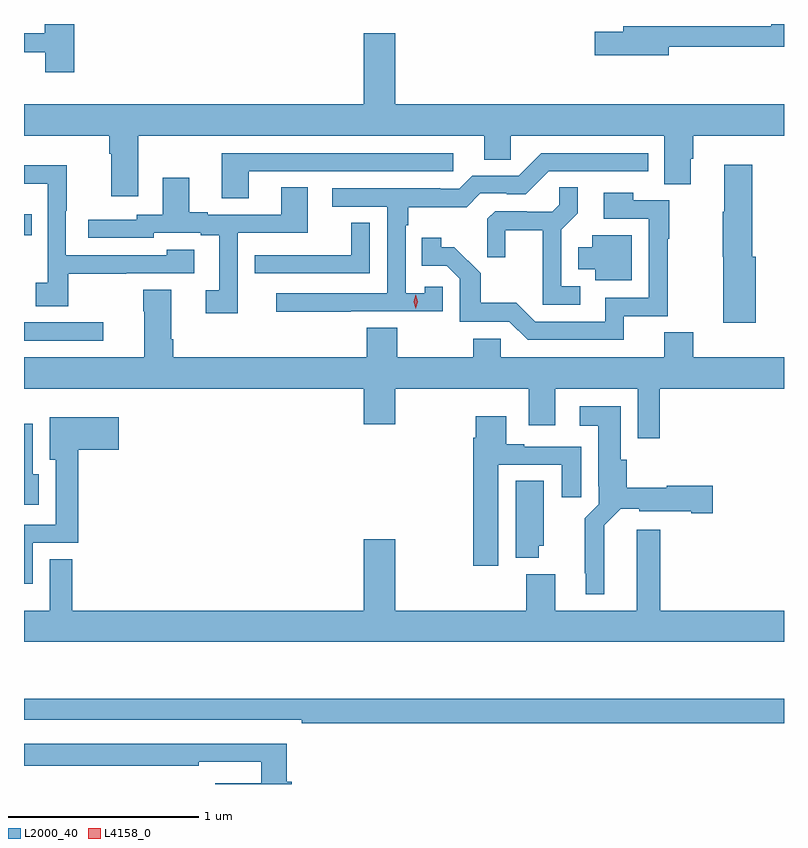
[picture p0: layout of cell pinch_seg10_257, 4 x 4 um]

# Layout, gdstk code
import gdstk
lib = gdstk.Library(unit=1e-6, precision=1e-09)
def R(c, l, rs):  # rectangles x0, y0, x1, y1
    for r in rs: c.add(gdstk.rectangle(r[:2], r[2:], *l))
def P(c, l, *ps):  # polygons
    for p in ps: c.add(gdstk.Polygon(p, *l))
L2000_40 = (2000, 40)
L4158_0 = (4158, 0)

pinch_seg10_257 = lib.new_cell('pinch_seg10_257')
R(pinch_seg10_257, L2000_40, [(522.859,1317.885,523.276,1317.981), (522.859,1318.44,522.899,1318.549)])
P(pinch_seg10_257, L2000_40, [(523.124,1319.551),(522.969,1319.551),(522.969,1319.503),(522.859,1319.503),(522.859,1319.403),(522.971,1319.403),(522.971,1319.298),(523.124,1319.298)],
  [(526.252,1319.43),(526.859,1319.43),(526.859,1319.551),(526.792,1319.551),(526.792,1319.538),(526.013,1319.538),(526.013,1319.509),(525.864,1319.509),(525.864,1319.387),(526.252,1319.387)],
  [(522.859,1318.964),(523.307,1318.964),(523.307,1318.868),(523.319,1318.868),(523.319,1318.644),(523.459,1318.644),(523.459,1318.964),(525.281,1318.964),(525.281,1318.837),(525.42,1318.837),(525.42,1318.964),(526.229,1318.964),(526.229,1318.708),(526.369,1318.708),(526.369,1318.842),(526.382,1318.842),(526.382,1318.964),(526.859,1318.964),(526.859,1319.128),(524.812,1319.128),(524.812,1319.503),(524.648,1319.503),(524.648,1319.128),(522.859,1319.128)],
  [(524.041,1318.776),(525.118,1318.776),(525.118,1318.872),(523.901,1318.872),(523.901,1318.633),(524.041,1318.633)],
  [(524.579,1318.038),(525.063,1318.038),(525.063,1318.167),(524.967,1318.167),(524.967,1318.135),(524.868,1318.135),(524.868,1318.493),(524.881,1318.493),(524.881,1318.586),(525.188,1318.586),(525.261,1318.659),(525.4,1318.659),(525.4,1318.656),(525.501,1318.656),(525.621,1318.776),(526.144,1318.776),(526.144,1318.872),(525.582,1318.872),(525.462,1318.752),(525.219,1318.752),(525.15,1318.683),(525.05,1318.683),(525.05,1318.686),(524.481,1318.686),(524.481,1318.59),(524.772,1318.59),(524.772,1318.134),(524.187,1318.134),(524.187,1318.036),(524.579,1318.036)],
  [(526.709,1318.326),(526.691,1318.326),(526.691,1318.81),(526.544,1318.81),(526.544,1318.562),(526.537,1318.562),(526.537,1318.326),(526.538,1318.326),(526.538,1317.978),(526.709,1317.978)],
  [(523.093,1318.237),(523.397,1318.237),(523.397,1318.239),(523.756,1318.239),(523.756,1318.363),(523.611,1318.363),(523.611,1318.335),(523.08,1318.335),(523.08,1318.568),(523.083,1318.568),(523.083,1318.807),(522.859,1318.807),(522.859,1318.709),(522.984,1318.709),(522.984,1318.188),(522.921,1318.188),(522.921,1318.066),(523.093,1318.066)],
  [(523.983,1318.452),(524.353,1318.452),(524.353,1318.691),(524.213,1318.691),(524.213,1318.548),(523.825,1318.548),(523.825,1318.561),(523.729,1318.561),(523.729,1318.741),(523.589,1318.741),(523.589,1318.548),(523.452,1318.548),(523.452,1318.521),(523.197,1318.521),(523.197,1318.425),(523.542,1318.425),(523.542,1318.452),(523.79,1318.452),(523.79,1318.44),(523.886,1318.44),(523.886,1318.149),(523.815,1318.149),(523.815,1318.029),(523.983,1318.029)],
  [(525.787,1318.17),(525.687,1318.17),(525.687,1318.469),(525.773,1318.555),(525.773,1318.691),(525.675,1318.691),(525.675,1318.6),(525.638,1318.563),(525.504,1318.563),(525.504,1318.566),(525.339,1318.566),(525.298,1318.525),(525.298,1318.323),(525.392,1318.323),(525.392,1318.466),(525.59,1318.466),(525.59,1318.074),(525.787,1318.074)],
  [(526.016,1318.014),(526.247,1318.014),(526.247,1318.42),(526.255,1318.42),(526.255,1318.623),(526.065,1318.623),(526.065,1318.663),(525.909,1318.663),(525.909,1318.527),(526.146,1318.527),(526.146,1318.11),(525.917,1318.11),(525.917,1317.984),(525.549,1317.984),(525.451,1318.083),(525.262,1318.083),(525.262,1318.238),(525.124,1318.376),(525.054,1318.376),(525.054,1318.426),(524.953,1318.426),(524.953,1318.278),(525.084,1318.278),(525.153,1318.209),(525.153,1317.984),(525.414,1317.984),(525.51,1317.888),(526.016,1317.888)],
  [(524.679,1318.505),(524.581,1318.505),(524.581,1318.335),(524.185,1318.335),(524.185,1318.334),(524.073,1318.334),(524.073,1318.239),(524.679,1318.239)],
  [(526.057,1318.438),(525.851,1318.438),(525.851,1318.375),(525.776,1318.375),(525.776,1318.259),(525.866,1318.259),(525.866,1318.202),(526.057,1318.202)],
  [(526.205,1317.632),(526.859,1317.632),(526.859,1317.796),(526.382,1317.796),(526.382,1317.929),(526.229,1317.929),(526.229,1317.796),(525.369,1317.796),(525.369,1317.894),(525.223,1317.894),(525.223,1317.796),(524.823,1317.796),(524.823,1317.953),(524.663,1317.953),(524.663,1317.796),(523.645,1317.796),(523.645,1317.892),(523.633,1317.892),(523.633,1318.153),(523.486,1318.153),(523.486,1318.04),(523.493,1318.04),(523.493,1317.796),(522.859,1317.796),(522.859,1317.632),(524.648,1317.632),(524.648,1317.444),(524.812,1317.444),(524.812,1317.632),(525.515,1317.632),(525.515,1317.438),(525.655,1317.438),(525.655,1317.632),(526.089,1317.632),(526.089,1317.372),(526.205,1317.372)],
  [(525.913,1316.912),(525.999,1316.999),(526.098,1316.999),(526.098,1316.987),(526.37,1316.987),(526.37,1316.975),(526.483,1316.975),(526.483,1317.122),(526.242,1317.122),(526.242,1317.109),(526.031,1317.109),(526.031,1317.258),(526,1317.258),(526,1317.538),(525.783,1317.538),(525.783,1317.437),(525.881,1317.437),(525.881,1317.118),(525.885,1317.118),(525.885,1317.024),(525.811,1316.95),(525.811,1316.659),(525.815,1316.659),(525.815,1316.549),(525.913,1316.549)],
  [(525.355,1317.231),(525.689,1317.231),(525.689,1317.06),(525.793,1317.06),(525.793,1317.327),(525.493,1317.327),(525.493,1317.34),(525.397,1317.34),(525.397,1317.487),(525.236,1317.487),(525.236,1317.374),(525.224,1317.374),(525.224,1316.7),(525.355,1316.7)],
  [(522.906,1316.82),(523.144,1316.82),(523.144,1317.311),(523.357,1317.311),(523.357,1317.481),(522.995,1317.481),(522.995,1317.257),(523.025,1317.257),(523.025,1316.916),(522.859,1316.916),(522.859,1316.606),(522.906,1316.606)],
  [(522.937,1317.18),(522.906,1317.18),(522.906,1317.446),(522.859,1317.446),(522.859,1317.021),(522.937,1317.021)],
  [(525.568,1316.805),(525.595,1316.805),(525.595,1317.146),(525.446,1317.146),(525.446,1316.741),(525.568,1316.741)],
  [(526.859,1316.464),(526.208,1316.464),(526.208,1316.89),(526.085,1316.89),(526.085,1316.464),(525.655,1316.464),(525.655,1316.656),(525.503,1316.656),(525.503,1316.464),(524.812,1316.464),(524.812,1316.839),(524.648,1316.839),(524.648,1316.464),(523.114,1316.464),(523.114,1316.735),(522.995,1316.735),(522.995,1316.464),(522.859,1316.464),(522.859,1316.3),(526.859,1316.3)],
  [(526.859,1315.999),(522.859,1315.999),(522.859,1315.89),(524.32,1315.89),(524.32,1315.87),(526.859,1315.87)],
  [(524.267,1315.563),(524.243,1315.563),(524.243,1315.764),(522.859,1315.764),(522.859,1315.648),(523.778,1315.648),(523.778,1315.668),(524.107,1315.668),(524.107,1315.555),(523.866,1315.555),(523.866,1315.551),(524.267,1315.551)])
P(pinch_seg10_257, L4158_0, [(524.921,1318.053),(524.921,1318.054),(524.911,1318.089),(524.921,1318.125),(524.921,1318.125),(524.921,1318.125),(524.931,1318.089),(524.921,1318.054)])

lib.write_gds('pinch_seg10_257.gds')
